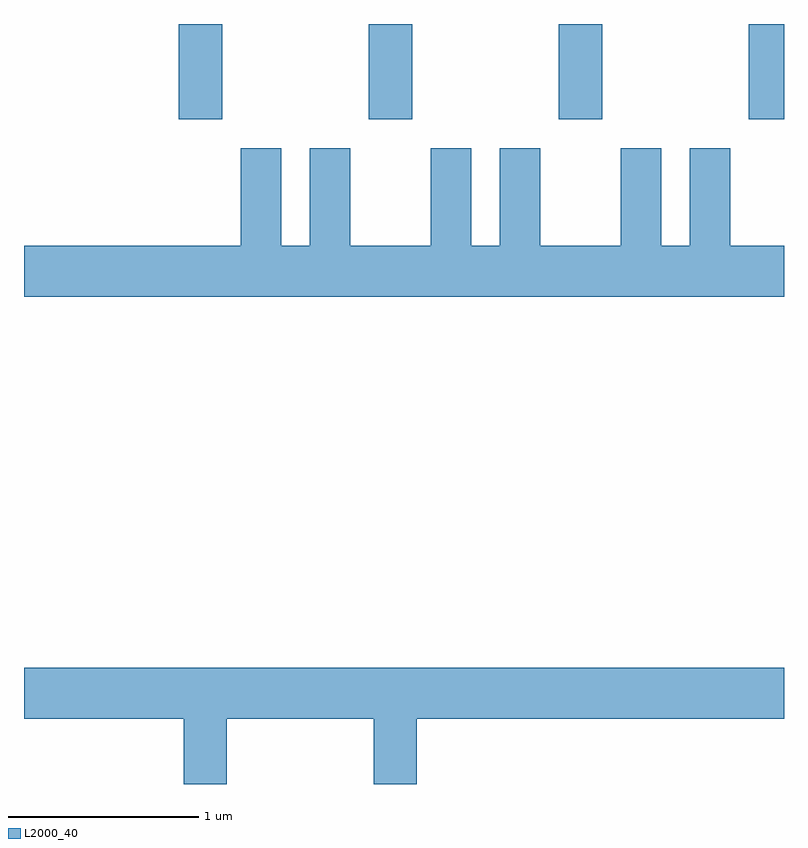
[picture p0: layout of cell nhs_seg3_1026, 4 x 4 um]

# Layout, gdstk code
import gdstk
lib = gdstk.Library(unit=1e-6, precision=1e-09)
def R(c, l, rs):  # rectangles x0, y0, x1, y1
    for r in rs: c.add(gdstk.rectangle(r[:2], r[2:], *l))
def A(c, l, x, y, w, h, nx, ny, dx, dy):  # array of equal rectangles
    R(c, l, [(x+i*dx, y+j*dy, x+i*dx+w, y+j*dy+h) for i in range(nx) for j in range(ny)])
def P(c, l, *ps):  # polygons
    for p in ps: c.add(gdstk.Polygon(p, *l))
L2000_40 = (2000, 40)

nhs_seg3_1026 = lib.new_cell('nhs_seg3_1026')
A(nhs_seg3_1026, L2000_40, 216.426, 1131.391, 0.228, 0.501, 3, 1, 1, 0)
R(nhs_seg3_1026, L2000_40, [(219.426,1131.391,219.611,1131.892)])
P(nhs_seg3_1026, L2000_40, [(219.611,1130.724),(219.329,1130.724),(219.329,1131.239),(219.116,1131.239),(219.116,1130.724),(218.964,1130.724),(218.964,1131.239),(218.751,1131.239),(218.751,1130.724),(218.329,1130.724),(218.329,1131.239),(218.116,1131.239),(218.116,1130.724),(217.964,1130.724),(217.964,1131.239),(217.751,1131.239),(217.751,1130.724),(217.329,1130.724),(217.329,1131.239),(217.116,1131.239),(217.116,1130.724),(216.964,1130.724),(216.964,1131.239),(216.751,1131.239),(216.751,1130.724),(215.611,1130.724),(215.611,1130.456),(219.611,1130.456)],
  [(216.679,1128.236),(217.451,1128.236),(217.451,1127.892),(217.679,1127.892),(217.679,1128.236),(219.611,1128.236),(219.611,1128.504),(215.611,1128.504),(215.611,1128.236),(216.451,1128.236),(216.451,1127.892),(216.679,1127.892)])

lib.write_gds('nhs_seg3_1026.gds')
